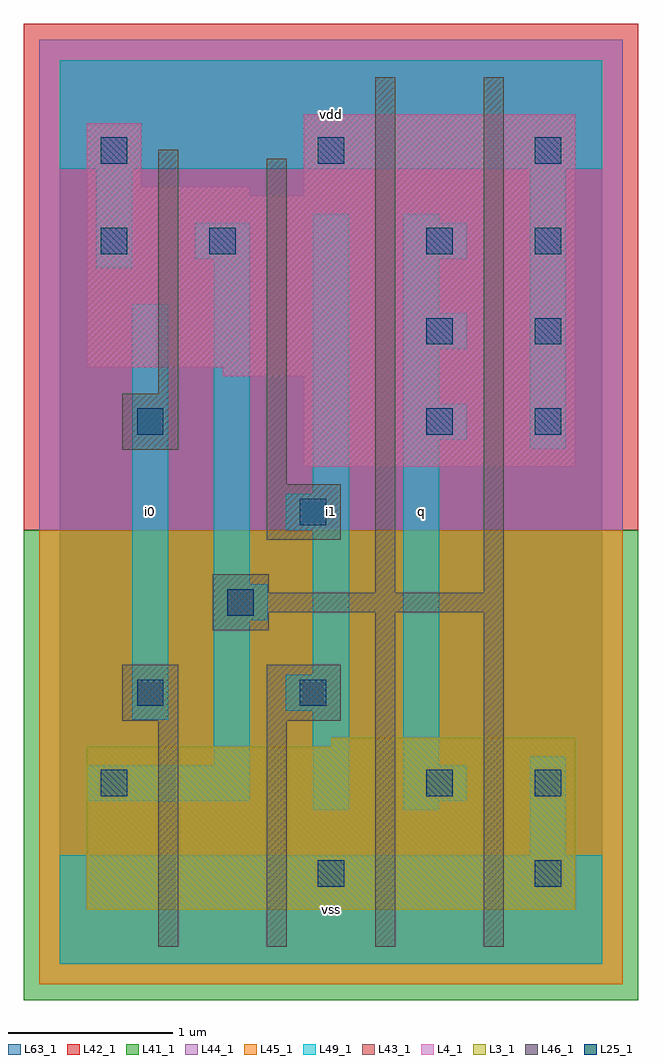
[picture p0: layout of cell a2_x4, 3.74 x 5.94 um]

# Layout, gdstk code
import gdstk
lib = gdstk.Library(unit=1e-6, precision=1e-09)
def R(c, l, rs):  # rectangles x0, y0, x1, y1
    for r in rs: c.add(gdstk.rectangle(r[:2], r[2:], *l))
def A(c, l, x, y, w, h, nx, ny, dx, dy):  # array of equal rectangles
    R(c, l, [(x+i*dx, y+j*dy, x+i*dx+w, y+j*dy+h) for i in range(nx) for j in range(ny)])
L3_1 = (3, 1)
L4_1 = (4, 1)
L25_1 = (25, 1)
L41_1 = (41, 1)
L42_1 = (42, 1)
L43_1 = (43, 1)
L44_1 = (44, 1)
L45_1 = (45, 1)
L46_1 = (46, 1)
L49_1 = (49, 1)
L63_1 = (63, 1)

a2_x4 = lib.new_cell('a2_x4')
R(a2_x4, L3_1, [(0.165,0.33,3.135,1.32), (1.65,1.32,3.135,1.375)])
R(a2_x4, L4_1, [(1.485,3.025,3.135,3.575), (0.99,3.575,3.135,3.63), (0.165,3.63,3.135,4.675), (0.165,4.675,1.155,4.73), (1.485,4.675,3.135,5.17), (0.165,4.73,0.495,5.115)])
A(a2_x4, L25_1, 2.23, 3.22, 0.16, 0.16, 1, 3, 0, 0.55)
A(a2_x4, L25_1, 2.89, 3.22, 0.16, 0.16, 1, 3, 0, 0.55)
A(a2_x4, L25_1, 0.25, 4.87, 0.16, 0.16, 3, 1, 1.32, 0)
R(a2_x4, L25_1, [(1.57,0.47,1.73,0.63), (2.89,0.47,3.05,0.63), (0.25,1.02,0.41,1.18), (2.23,1.02,2.39,1.18), (2.89,1.02,3.05,1.18), (0.47,1.57,0.63,1.73), (1.46,1.57,1.62,1.73), (1.02,2.12,1.18,2.28), (1.46,2.67,1.62,2.83), (0.47,3.22,0.63,3.38), (0.25,4.32,0.41,4.48), (0.91,4.32,1.07,4.48)])
R(a2_x4, L41_1, [(-0.22,-0.22,3.52,2.64)])
R(a2_x4, L42_1, [(-0.22,2.64,3.52,5.72)])
R(a2_x4, L43_1, [(0.165,0.33,3.135,1.32), (1.65,1.32,3.135,1.375), (1.485,3.025,3.135,3.575), (0.99,3.575,3.135,3.63), (0.165,3.63,3.135,4.675), (0.165,4.675,1.155,4.73), (1.485,4.675,3.135,5.17), (0.165,4.73,0.495,5.115)])
R(a2_x4, L44_1, [(-0.125,2.64,3.425,5.625)])
R(a2_x4, L45_1, [(-0.125,-0.125,3.425,2.64)])
R(a2_x4, L46_1, [(0.6,0.105,0.72,1.48), (1.26,0.105,1.38,1.48), (1.92,0.105,2.04,2.14), (2.58,0.105,2.7,2.14), (0.38,1.48,0.72,1.82), (1.26,1.48,1.71,1.82), (0.93,2.03,1.27,2.14), (0.93,2.14,2.7,2.26), (0.93,2.26,1.27,2.37), (1.92,2.26,2.04,5.395), (2.58,2.26,2.7,5.395), (1.26,2.58,1.71,2.92), (1.26,2.92,1.38,4.9), (0.38,3.13,0.72,3.47), (0.6,3.47,0.72,4.955)])
A(a2_x4, L49_1, 2.09, 3.19, 0.385, 0.22, 1, 3, 0, 0.55)
R(a2_x4, L49_1, [(0,0,3.3,0.66), (2.86,0.66,3.08,1.265), (1.54,0.935,1.76,1.54), (2.09,0.935,2.31,0.99), (0.165,0.99,1.155,1.21), (2.09,0.99,2.475,1.21), (0.935,1.21,1.155,2.09), (2.09,1.21,2.31,3.19), (0.44,1.485,0.66,4.015), (1.375,1.54,1.76,1.76), (1.54,1.76,1.76,2.64), (0.935,2.09,1.265,2.31), (0.935,2.31,1.155,4.29), (1.375,2.64,1.76,2.86), (1.54,2.86,1.76,4.565), (2.86,3.135,3.08,4.84), (2.09,3.41,2.31,3.74), (2.09,3.96,2.31,4.29), (0.22,4.235,0.44,4.84), (0.825,4.29,1.155,4.51), (2.09,4.51,2.31,4.565), (0,4.84,3.3,5.5)])
R(a2_x4, L63_1, [(0,0,3.3,5.5)])
a2_x4.add(gdstk.Label('i0', (0.55,2.75), layer=49, texttype=1))
a2_x4.add(gdstk.Label('vss', (1.65,0.33), layer=49, texttype=1))
a2_x4.add(gdstk.Label('q', (2.2,2.75), layer=49, texttype=1))
a2_x4.add(gdstk.Label('i1', (1.65,2.75), layer=49, texttype=1))
a2_x4.add(gdstk.Label('vdd', (1.65,5.17), layer=49, texttype=1))

lib.write_gds('a2_x4.gds')
